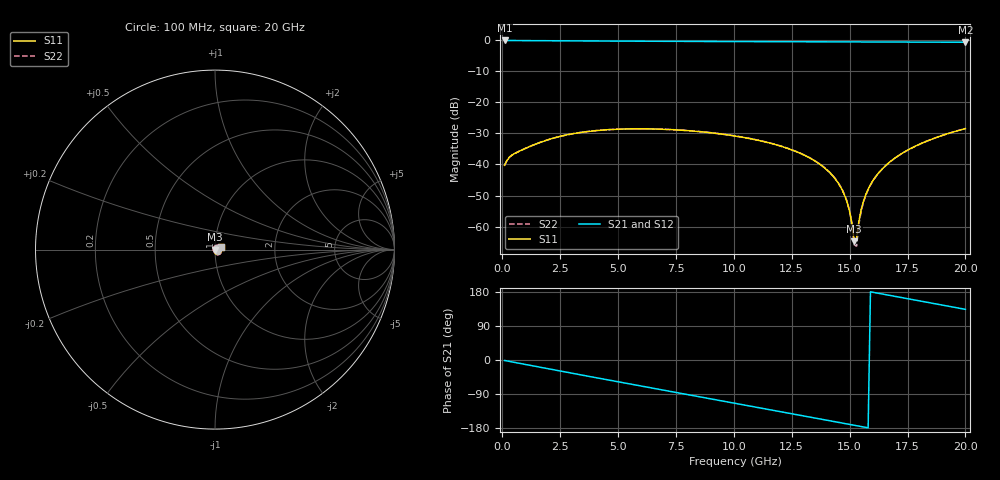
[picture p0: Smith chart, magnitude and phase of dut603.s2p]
! Touchstone file exported from HFSS 2026.1.0
!  File:  C:/ffzhzh/LocalFiles/Ansys_Project_Files/temp_train_TSV_RDL_603_1783122312_35180.aedt
!  Generated:  07:52:26 AM Jul  4, 2026
!  Design:  TSV_RDL
!  Project:  temp_train_TSV_RDL_603_1783122312_35180
! Variables:
!  h_bsmrdl = 5.65um
!  h_ox = 20um
!  h_rdl = 5um
!  h_sub = 71.74um
!  h_tmrdl = 5.44um
!  h_tsv = 71.74um
!  h_via = 3um
!  l_bsmrdl = 781.07um
!  l_sub = 3739.97um
!  l_tmrdl = 208.3um
!  m_sub = 200um
!  pitch = 35.46um
!  r_tsv = 14.37um
!  s_tmrdl = 10um
!  w_bsmrdl = 25.82um
!  w_sub = 500um
!  w_tmrdl = 28.7um
!  x_tsv_center1 = 222.65um
!  x_tsv_center2 = 1029.54um
!  x_tsv_center3 = 1266.54um
!  x_tsv_center4 = 2073.43um
!  x_tsv_center5 = 2310.43um
!  x_tsv_center6 = 3117.32um
# GHz S MA R 50.000000
! Terminal data exported
! Port[1] = TM_RDL1_1_T1
! Port[2] = TM_RDL5_1_T1
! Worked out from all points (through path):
!   200 points, 100 MHz to 20 GHz, reference 50 ohm
!   highest |S21| = -0.08 dB at 100 MHz (marker M1); lowest = -0.7 dB at 20 GHz (marker M2)
!   group delay of S21, straight-line fit = 31.3 ps
!   lowest |S11| = -64.7 dB at 15.2 GHz (marker M3), VSWR 1.00, Z = 50 - j0.0508 ohm
!   |S11| at or under -10 dB: start of sweep to end of sweep
!   |S22| runs from -66.3 to -28.4 dB; largest |S21 - S12| = 2.7e-14
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0.1  0.009706 15.7  0.9907 -1.3  0.9907 -1.3  0.009706 15.7
! Gamma 0 0 0 0
! Port Impedance 50 0 50 0
0.4  0.014 21.2  0.9874 -4.8  0.9874 -4.8  0.01401 21.3
1.2  0.01956 23.2  0.9843 -14.1  0.9843 -14.1  0.01957 23.2
3.5  0.03324 2.8  0.9734 -40.5  0.9734 -40.5  0.03326 2.8
6.8  0.03706 -36.4  0.9604 -77.8  0.9604 -77.8  0.03712 -36.5
8.4  0.03412 -53.8  0.9555 -95.8  0.9555 -95.8  0.0342 -54.0
10.1  0.02857 -71.2  0.9508 -114.9  0.9508 -114.9  0.02866 -71.4
12  0.01988 -89.2  0.9459 -136.2  0.9459 -136.2  0.01997 -89.6
13.4  0.01202 -101.2  0.9425 -152.0  0.9425 -152.0  0.0121 -101.9
14.2  0.007036 -106.7  0.9405 -161.0  0.9405 -161.0  0.007108 -107.9
14.7  0.003757 -107.6  0.9393 -166.6  0.9393 -166.6  0.003815 -109.9
15  0.001757 -101.4  0.9386 -170.0  0.9386 -170.0  0.001791 -106.5
15.1  0.001113 -92.2  0.9384 -171.1  0.9384 -171.1  0.001122 -100.4
15.2  0.0005817 -60.7  0.9382 -172.2  0.9382 -172.2  0.0005104 -75.9
15.3  0.0006385 8.2  0.9379 -173.4  0.9379 -173.4  0.0004851 12.8
15.4  0.001211 34.3  0.9377 -174.5  0.9377 -174.5  0.001097 39.8
15.5  0.001881 42.4  0.9374 -175.6  0.9374 -175.6  0.001785 46.3
15.8  0.004003 47.9  0.9367 -179.0  0.9367 -179.0  0.003929 49.9
16.2  0.006934 47.5  0.9358 176.5  0.9358 176.5  0.006873 48.7
16.7  0.01071 44.6  0.9347 170.9  0.9347 170.9  0.01066 45.4
18  0.02102 34.7  0.9317 156.2  0.9317 156.2  0.021 35.1
20  0.03786 18.1  0.9271 133.7  0.9271 133.7  0.03788 18.2
